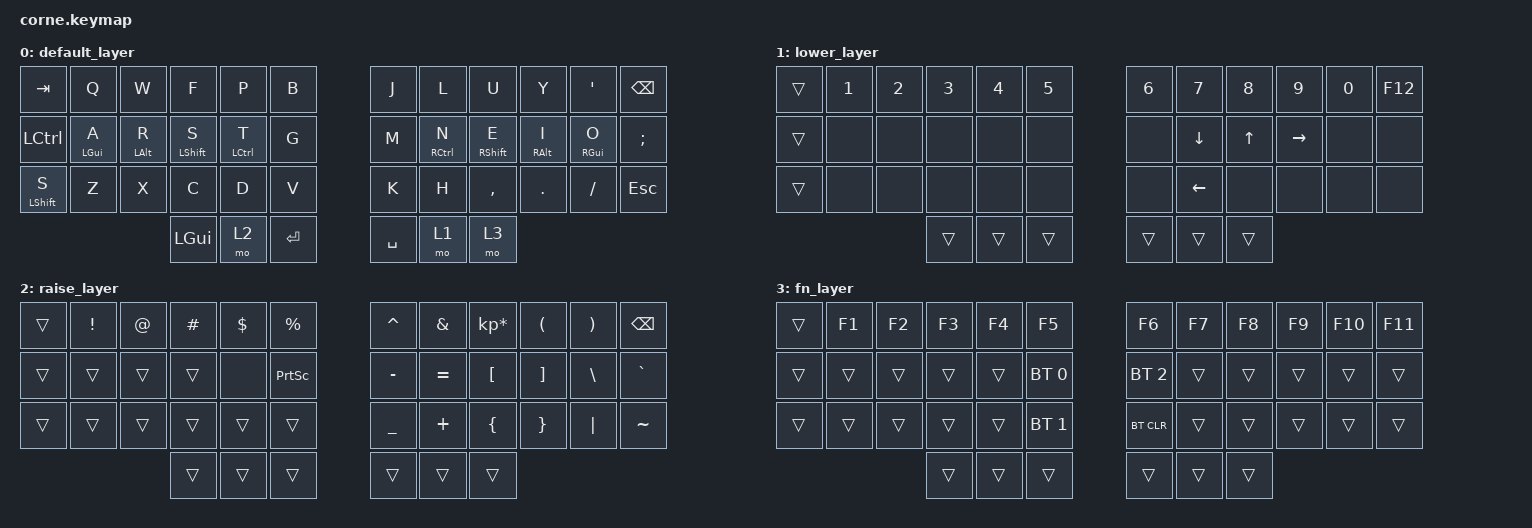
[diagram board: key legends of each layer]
/*
 * Copyright (c) 2020 The ZMK Contributors
 *
 * SPDX-License-Identifier: MIT
 */

#include <behaviors.dtsi>
#include <dt-bindings/zmk/bt.h>
#include <dt-bindings/zmk/keys.h>

/ {
    behaviors {
        hm: homerow_mods {
            compatible = "zmk,behavior-hold-tap";
            label = "HOMEROW_MODS";
            #binding-cells = <2>;
            tapping-term-ms = <350>;
            quick-tap-ms = <75>;
            flavor = "tap-preferred";
            bindings =
                <&kp>,
                <&kp>;

            hold-trigger-key-positions = <>;
        };
    };

    combos {
        compatible = "zmk,combos";

        tab {
            bindings = <&kp TAB>;
            key-positions = <2 3>;
        };

        delete {
            bindings = <&kp DELETE>;
            key-positions = <8 9>;
        };

        caps {
            bindings = <&kp CAPS>;
            key-positions = <17 18>;
        };
    };

    keymap {
        compatible = "zmk,keymap";

        default_layer {
            bindings = <
    &kp TAB       &kp Q       &kp W         &kp F        &kp P      &kp B        &kp J        &kp L         &kp U       &kp Y     &kp SQT       &kp BSPC
  &kp LCTRL  &hm LGUI A  &hm LALT R  &hm LSHIFT S  &hm LCTRL T      &kp G        &kp M  &hm RCTRL N  &hm RSHIFT E  &hm RALT I  &hm RGUI O  &kp SEMICOLON
&hm LSHFT S       &kp Z       &kp X         &kp C        &kp D      &kp V        &kp K        &kp H     &kp COMMA     &kp DOT    &kp FSLH        &kp ESC
                                         &kp LGUI        &mo 2  &kp ENTER    &kp SPACE        &mo 1         &mo 3
            >;
        };

        lower_layer {
            bindings = <
&trans  &kp N1  &kp N2  &kp N3  &kp N4  &kp N5    &kp N6    &kp N7  &kp N8     &kp N9  &kp N0  &kp F12
&trans   &none   &none   &none   &none   &none     &none  &kp DOWN  &kp UP  &kp RIGHT   &none    &none
&trans   &none   &none   &none   &none   &none     &none  &kp LEFT   &none      &none   &none    &none
                        &trans  &trans  &trans    &trans    &trans  &trans
            >;
        };

        raise_layer {
            bindings = <
&trans  &kp EXCL  &kp AT  &kp HASH  &kp DLLR        &kp PRCNT    &kp CARET   &kp AMPS  &kp KP_MULTIPLY  &kp LPAR  &kp RPAR   &kp BSPC
&trans    &trans  &trans    &trans     &none  &kp PRINTSCREEN    &kp MINUS  &kp EQUAL         &kp LBKT  &kp RBKT  &kp BSLH  &kp GRAVE
&trans    &trans  &trans    &trans    &trans           &trans    &kp UNDER   &kp PLUS         &kp LBRC  &kp RBRC  &kp PIPE  &kp TILDE
                            &trans    &trans           &trans       &trans     &trans           &trans
            >;
        };

        fn_layer {
            bindings = <
&trans  &kp F1  &kp F2  &kp F3  &kp F4        &kp F5          &kp F6  &kp F7  &kp F8  &kp F9  &kp F10  &kp F11
&trans  &trans  &trans  &trans  &trans  &bt BT_SEL 0    &bt BT_SEL 2  &trans  &trans  &trans   &trans   &trans
&trans  &trans  &trans  &trans  &trans  &bt BT_SEL 1      &bt BT_CLR  &trans  &trans  &trans   &trans   &trans
                        &trans  &trans        &trans          &trans  &trans  &trans
            >;
        };
    };
};
